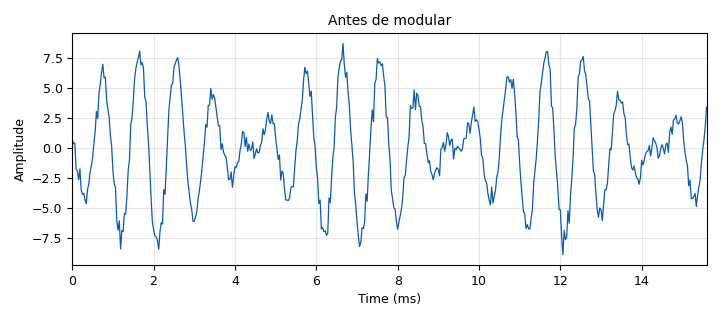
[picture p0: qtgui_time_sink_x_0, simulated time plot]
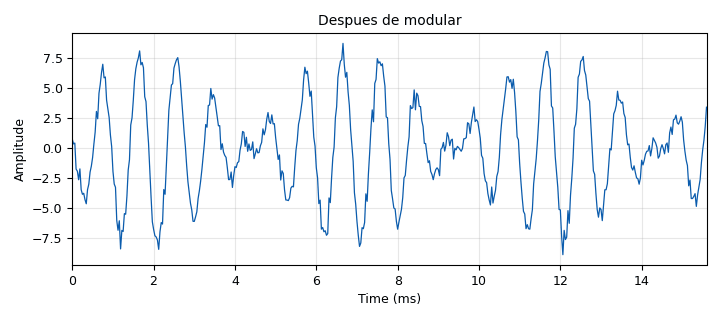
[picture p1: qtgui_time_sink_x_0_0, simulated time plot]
options:
  parameters:
    generate_options: qt_gui
    id: Aplicacion
    output_language: python
    title: Not titled yet
  states: {}

blocks:
- name: samp_rate
  id: variable
  parameters:
    value: '32000'
  states: {}
- name: analog_noise_source_x_0
  id: analog_noise_source_x
  parameters:
    amp: '0.5'
    noise_type: analog.GR_GAUSSIAN
    seed: '0'
    type: float
  states: {}
- name: analog_sig_source_x_0
  id: analog_sig_source_x
  parameters:
    amp: '4'
    freq: '1000'
    offset: '0'
    phase: '0'
    samp_rate: samp_rate
    type: float
    waveform: analog.GR_COS_WAVE
  states: {}
- name: analog_sig_source_x_0_0
  id: analog_sig_source_x
  parameters:
    amp: '4'
    freq: '1200'
    offset: '0'
    phase: '0'
    samp_rate: samp_rate
    type: float
    waveform: analog.GR_SIN_WAVE
  states: {}
- name: blocks_add_xx_0
  id: blocks_add_xx
  parameters:
    num_inputs: '3'
    type: float
  states: {}
- name: epy_block_0
  id: epy_block
  parameters:
    _source_code: "import numpy as np\nfrom gnuradio import gr\n\nclass blk(gr.sync_block):\n    def __init__(self):\n        gr.sync_block.__init__(\n            self,\n            name=\"Promedios_de_tiempo\",\n            in_sig=[np.float32],\n            out_sig=[np.float32, np.float32, np.float32, np.float32, np.float32]\n        )\n        self.acum_anterior = 0\n        self.Ntotales = 0\n        self.acum_anterior1 = 0\n        self.acum_anterior2 = 0\n\n    def work(self, input_items, output_items):\n        x = input_items[0]\n        # Salidas\n        y0 = output_items[0]  # Promedio de la señal\n        y1 = output_items[1]  # Media cuadrática de la señal\n        y2 = output_items[2]  # RMS de la señal\n        y3 = output_items[3]  # Potencia promedio de la señal\n        y4 = output_items[4]  # Desviación estándar de la señal\n\n        # Calculo del promedio\n        N = len(x)\n        self.Ntotales += N\n        acumulado = self.acum_anterior + np.cumsum(x)\n        self.acum_anterior = acumulado[-1]\n        y0[:] = acumulado / self.Ntotales\n\n        # Calculo de la media cuadrática\n        x2 = np.multiply(x, x)\n        acumulado1 = self.acum_anterior1 + np.cumsum(x2)\n        self.acum_anterior1 = acumulado1[-1]\n        y1[:] = acumulado1 / self.Ntotales\n\n        # Calculo de la RMS\n        y2[:] = np.sqrt(y1)\n\n        # Calculo de la potencia promedio\n        y3[:] = np.multiply(y2, y2)\n\n        # Calculo de la desviación estándar\n        x3 = np.multiply(x - y0, x - y0)\n        acumulado2 = self.acum_anterior2 + np.cumsum(x3)\n        self.acum_anterior2 = acumulado2[-1]\n        y4[:] = np.sqrt(acumulado2 / self.Ntotales)\n\n        return len(x)\n\n"
  states: {}
- name: epy_block_0_0_0
  id: epy_block
  parameters:
    _source_code: |
      import numpy as np
      from gnuradio import gr
      class blk(gr.sync_block):
          def __init__ ( self ) : # only default arguments here
              gr. sync_block . __init__ (
                  self ,
                  name ="Diferenciador", # will show up in GRC
                  in_sig =[np.float32],
                  out_sig =[np.float32])
              self.last_sample=0
              
          def work (self , input_items , output_items ):
              x = input_items[0] # Senial de entrada .
              y = output_items[0] # Senial acumulada diferencial
              N = len(x)
              y[0] = x[0] - self.last_sample
              y[1:] = np.diff(x)
              self.last_sample = x[-1]
              
              return len(x)
  states: {}
- name: epy_block_0_1
  id: epy_block
  parameters:
    _source_code: |
      import numpy as np
      from gnuradio import gr
      class blk ( gr . sync_block ) :
      	def __init__ ( self) : # only default arguments here
      		gr . sync_block . __init__ (
      			self ,
      			name = " e_Acum " , # will show up in GRC
      			in_sig =[ np.float32 ] ,
      			out_sig =[ np.float32 ])
      		self.acum_anterior=0
      		
      	def work ( self , input_items , output_items ) :
      		x = input_items [0] # Senial de entrada.
      		y = output_items [0] # Senial acumulada
      		y[:] = self.acum_anterior+np.cumsum(x)
      		self.acum_anterior=y[-1]
      		return len(x)
  states: {}
- name: epy_block_0_2
  id: epy_block
  parameters:
    _source_code: "import numpy as np\nfrom gnuradio import gr\n\nclass blk(gr.sync_block):\n    def __init__(self):\n        gr.sync_block.__init__(\n            self,\n            name=\"Promedios_de_tiempo\",\n            in_sig=[np.float32],\n            out_sig=[np.float32, np.float32, np.float32, np.float32, np.float32]\n        )\n        self.acum_anterior = 0\n        self.Ntotales = 0\n        self.acum_anterior1 = 0\n        self.acum_anterior2 = 0\n\n    def work(self, input_items, output_items):\n        x = input_items[0]\n        # Salidas\n        y0 = output_items[0]  # Promedio de la señal\n        y1 = output_items[1]  # Media cuadrática de la señal\n        y2 = output_items[2]  # RMS de la señal\n        y3 = output_items[3]  # Potencia promedio de la señal\n        y4 = output_items[4]  # Desviación estándar de la señal\n\n        # Calculo del promedio\n        N = len(x)\n        self.Ntotales += N\n        acumulado = self.acum_anterior + np.cumsum(x)\n        self.acum_anterior = acumulado[-1]\n        y0[:] = acumulado / self.Ntotales\n\n        # Calculo de la media cuadrática\n        x2 = np.multiply(x, x)\n        acumulado1 = self.acum_anterior1 + np.cumsum(x2)\n        self.acum_anterior1 = acumulado1[-1]\n        y1[:] = acumulado1 / self.Ntotales\n\n        # Calculo de la RMS\n        y2[:] = np.sqrt(y1)\n\n        # Calculo de la potencia promedio\n        y3[:] = np.multiply(y2, y2)\n\n        # Calculo de la desviación estándar\n        x3 = np.multiply(x - y0, x - y0)\n        acumulado2 = self.acum_anterior2 + np.cumsum(x3)\n        self.acum_anterior2 = acumulado2[-1]\n        y4[:] = np.sqrt(acumulado2 / self.Ntotales)\n\n        return len(x)\n\n"
  states: {}
- name: qtgui_number_sink_0
  id: qtgui_number_sink
  parameters:
    graph_type: qtgui.NUM_GRAPH_HORIZ
    name: '"Media"'
    nconnections: '2'
    type: float
  states: {}
- name: qtgui_number_sink_0_0
  id: qtgui_number_sink
  parameters:
    graph_type: qtgui.NUM_GRAPH_HORIZ
    name: '"Desviacion Estandar"'
    nconnections: '2'
    type: float
  states: {}
- name: qtgui_number_sink_0_1
  id: qtgui_number_sink
  parameters:
    graph_type: qtgui.NUM_GRAPH_HORIZ
    name: '"Potencia promedio"'
    nconnections: '2'
    type: float
  states: {}
- name: qtgui_number_sink_0_2
  id: qtgui_number_sink
  parameters:
    graph_type: qtgui.NUM_GRAPH_HORIZ
    name: '"Media cuadratica"'
    nconnections: '2'
    type: float
  states: {}
- name: qtgui_number_sink_0_3
  id: qtgui_number_sink
  parameters:
    graph_type: qtgui.NUM_GRAPH_HORIZ
    name: '"Rms"'
    nconnections: '2'
    type: float
  states: {}
- name: qtgui_time_sink_x_0
  id: qtgui_time_sink_x
  parameters:
    autoscale: 'True'
    grid: 'True'
    name: '"Antes de modular"'
    size: '500'
    srate: samp_rate
    type: float
  states: {}
- name: qtgui_time_sink_x_0_0
  id: qtgui_time_sink_x
  parameters:
    autoscale: 'True'
    grid: 'True'
    name: '"Despues de modular"'
    size: '500'
    srate: samp_rate
    type: float
  states: {}

connections:
- [analog_noise_source_x_0, '0', blocks_add_xx_0, '1']
- [analog_sig_source_x_0, '0', blocks_add_xx_0, '0']
- [analog_sig_source_x_0_0, '0', blocks_add_xx_0, '2']
- [blocks_add_xx_0, '0', epy_block_0_0_0, '0']
- [blocks_add_xx_0, '0', epy_block_0_2, '0']
- [blocks_add_xx_0, '0', qtgui_time_sink_x_0, '0']
- [epy_block_0, '0', qtgui_number_sink_0, '0']
- [epy_block_0, '1', qtgui_number_sink_0_2, '0']
- [epy_block_0, '2', qtgui_number_sink_0_3, '0']
- [epy_block_0, '3', qtgui_number_sink_0_1, '0']
- [epy_block_0, '4', qtgui_number_sink_0_0, '0']
- [epy_block_0_0_0, '0', epy_block_0_1, '0']
- [epy_block_0_1, '0', epy_block_0, '0']
- [epy_block_0_1, '0', qtgui_time_sink_x_0_0, '0']
- [epy_block_0_2, '0', qtgui_number_sink_0, '1']
- [epy_block_0_2, '1', qtgui_number_sink_0_2, '1']
- [epy_block_0_2, '2', qtgui_number_sink_0_3, '1']
- [epy_block_0_2, '3', qtgui_number_sink_0_1, '1']
- [epy_block_0_2, '4', qtgui_number_sink_0_0, '1']

metadata:
  file_format: 1
  grc_version: v3.11.0.0git-810-g1ecb8565
